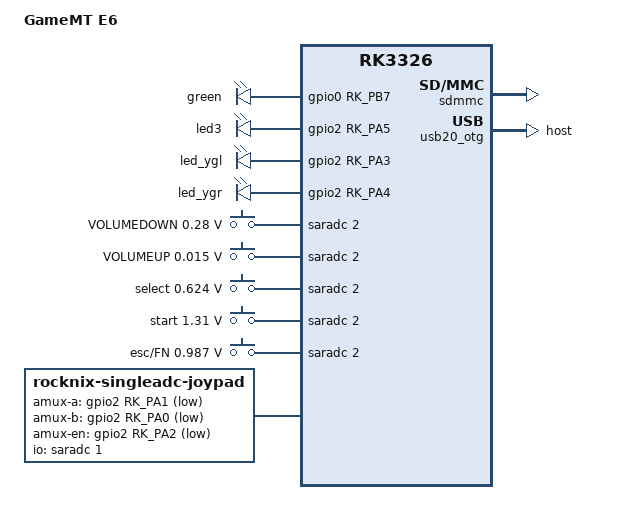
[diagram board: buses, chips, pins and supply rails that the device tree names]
// SPDX-License-Identifier: (GPL-2.0+ OR MIT)
/*
 * Copyright (c) 2017 Fuzhou Rockchip Electronics Co., Ltd
 */

/dts-v1/;
#include "rk3326.dtsi"
#include "px30-android.dtsi"
#include "rk3326-evb-lp3-v10.dtsi"
#include "rk3326-863-cif-sensor.dtsi"

/ {
	model = "GameMT E6";
	compatible = "gmmt,e6", "rockchip,rk3326";

	power-led {
		compatible = "gpio-leds";

		green {
			gpios = <&gpio0 RK_PB7 GPIO_ACTIVE_HIGH>;
			default-state = "on";
		};

		led3 {
			gpios = <&gpio2 RK_PA5 GPIO_ACTIVE_HIGH>;
			default-state = "on";
		};

		led_ygl {
			gpios = <&gpio2 RK_PA3 GPIO_ACTIVE_HIGH>;
			default-state = "on";
		};

		led_ygr {
			gpios = <&gpio2 RK_PA4 GPIO_ACTIVE_HIGH>;
			default-state = "on";
		};
	};
};

/ {
	wireless-wlan {
		status = "disabled";
	};

	wireless-bluetooth {
		status = "disabled";
	};

	fiq-debugger {
		status = "disabled";
	};

	rk817-sound {
		compatible = "simple-audio-card";
		simple-audio-card,format = "i2s";
		simple-audio-card,name = "rockchip,rk817-codec";
		simple-audio-card,mclk-fs = <256>;

		/delete-property/ rockchip,card-name;
		/delete-property/ hp-det-gpio;
		/delete-property/ io-channels;
		/delete-property/ io-channel-names;
		/delete-property/ keyup-threshold-microvolt;
		/delete-property/ poll-interval;
		/delete-property/ rockchip,format;
		/delete-property/ rockchip,mclk-fs;
		/delete-property/ rockchip,cpu;
		/delete-property/ rockchip,codec;
		/delete-property/ pinctrl-names;
		/delete-property/ pinctrl-0;
		/delete-node/ play-pause-key;

		simple-audio-card,cpu {
			sound-dai = <&i2s1_2ch>;
		};

		simple-audio-card,codec {
			sound-dai = <&rk817_codec>;
		};
	};

	charge-animation {
		compatible = "rockchip,uboot-charge";
		rockchip,uboot-charge-on = <0>;
		rockchip,android-charge-on = <1>;
		rockchip,uboot-low-power-voltage = <3500>;
		rockchip,screen-on-voltage = <3600>;
		status = "okay";
	};
	adc-keys {
		compatible = "adc-keys";
		io-channels = <&saradc 2>;
		io-channel-names = "buttons";
		keyup-threshold-microvolt = <1800000>;
		poll-interval = <60>;

		/delete-node/ esc-key;
		/delete-node/ home-key;
		/delete-node/ menu-key;

		vol-down-key {
			label = "VOLUMEDOWN";
			linux,code = <KEY_VOLUMEDOWN>;
			press-threshold-microvolt = <280000>;
		};

		vol-up-key {
			label = "VOLUMEUP";
			linux,code = <KEY_VOLUMEUP>;
			press-threshold-microvolt = <15000>;
		};

		select-key {
			label = "select";
			linux,code = <KEY_RIGHTSHIFT>;
			press-threshold-microvolt = <624000>;
		};

		start-key {
			label = "start";
			linux,code = <KEY_ENTER>;
			press-threshold-microvolt = <1310000>;
		};

		fn-key {
			label = "esc/FN";
			linux,code = <KEY_ESC>;
			press-threshold-microvolt = <987000>;
		};
	};

	joypad: rocknix-singleadc-joypad {
		compatible = "rocknix-singleadc-joypad";

		joypad-name = "retrogame_joypad";
		joypad-product = <0x1101>;
		joypad-revision = <0x0100>;
		joypad-vendor = <0x484B>;

		status = "okay";

		/* Analog mux define */
		io-channel-names = "amux_adc";
		io-channels = <&saradc 1>;

		/* adc mux channel count */
		amux-count = <4>;
		/* adc mux select(a,b) gpio */
		amux-a-gpios = <&gpio2 RK_PA1 GPIO_ACTIVE_LOW>;
		amux-b-gpios = <&gpio2 RK_PA0 GPIO_ACTIVE_LOW>;
		/* adc mux enable gpio */
		amux-en-gpios = <&gpio2 RK_PA2 GPIO_ACTIVE_LOW>;

		/* adc calculate scale */
		button-adc-scale = <2>;

		/* adc deadzone range */
		button-adc-deadzone = <64>;

		/*
		  specifies fuzz value that is used to filter noise from
		  the event stream.
		*/
		button-adc-fuzz = <32>;
		button-adc-flat = <32>;

		/*
		  Analog Stick data tuning value(precent)
		  p = positive direction, n = negative direction
		  report value = (real_adc_data * tuning_value) / 100
		*/
		abs_x-p-tuning = <200>;
		abs_x-n-tuning = <300>;

		abs_y-p-tuning = <200>;
		abs_y-n-tuning = <350>;

		abs_rx-p-tuning = <350>;
		abs_rx-n-tuning = <350>;

		abs_ry-p-tuning = <350>;
		abs_ry-n-tuning = <350>;

		/* poll device interval (ms), adc read interval */
		poll-interval = <10>;

		sw1 {
			gpios = <&gpio3 RK_PD1 GPIO_ACTIVE_LOW>;
			label = "GPIO DPAD-UP";
			linux,code = <BTN_DPAD_UP>;
		};
		sw2 {
			gpios = <&gpio3 RK_PD2 GPIO_ACTIVE_LOW>;
			label = "GPIO DPAD-DOWN";
			linux,code = <BTN_DPAD_DOWN>;
		};
		sw3 {
			gpios = <&gpio3 RK_PB5 GPIO_ACTIVE_LOW>;
			label = "GPIO DPAD-LEFT";
			linux,code = <BTN_DPAD_LEFT>;
		};
		sw4 {
			gpios = <&gpio3 RK_PD0 GPIO_ACTIVE_LOW>;
			label = "GPIO DPAD-RIGHT";
			linux,code = <BTN_DPAD_RIGHT>;
		};
		sw5 {
			gpios = <&gpio3 RK_PC4 GPIO_ACTIVE_LOW>;
			label = "GPIO BTN-A";
			linux,code = <BTN_EAST>;
		};
		sw6 {
			gpios = <&gpio3 RK_PC5 GPIO_ACTIVE_LOW>;
			label = "GPIO BTN-B";
			linux,code = <BTN_SOUTH>;
		};
		sw7 {
			gpios = <&gpio3 RK_PB3 GPIO_ACTIVE_LOW>;
			label = "GPIO BTN-Y";
			linux,code = <BTN_WEST>;
		};
		sw8 {
			gpios = <&gpio3 RK_PB2 GPIO_ACTIVE_LOW>;
			label = "GPIO BTN-X";
			linux,code = <BTN_NORTH>;
		};
		sw9 {
			gpios = <&gpio3 RK_PB4 GPIO_ACTIVE_LOW>;
			label = "GPIO F2";
			linux,code = <BTN_MODE>;
		};
		sw10 {
			gpios = <&gpio0 RK_PC2 GPIO_ACTIVE_LOW>;
			label = "GPIO F4";
			linux,code = <BTN_SELECT>;
		};
		sw11 {
			gpios = <&gpio3 RK_PA7 GPIO_ACTIVE_LOW>;
			label = "GPIO BTN_F3";
			linux,code = <BTN_START>;
		};
		sw12 {
			gpios = <&gpio2 RK_PB1 GPIO_ACTIVE_LOW>;
			label = "BTN_THUMBL";
			linux,code = <BTN_THUMBL>;
		};
		sw13 {
			gpios = <&gpio2 RK_PB2 GPIO_ACTIVE_LOW>;
			label = "BTN_THUMBR";
			linux,code = <BTN_THUMBR>;
		};
		sw14 {
			gpios = <&gpio3 RK_PC1 GPIO_ACTIVE_LOW>;
			label = "GPIO BTN_TR";
			linux,code = <BTN_TR>;
		};
		sw15 {
			gpios = <&gpio3 RK_PC0 GPIO_ACTIVE_LOW>;
			label = "GPIO BTN_TR2";
			linux,code = <BTN_TR2>;
		};
		sw16 {
			gpios = <&gpio3 RK_PC3 GPIO_ACTIVE_LOW>;
			label = "GPIO BTN_TL";
			linux,code = <BTN_TL>;
		};
		sw17 {
			gpios = <&gpio3 RK_PC2 GPIO_ACTIVE_LOW>;
			label = "GPIO BTN_TL2";
			linux,code = <BTN_TL2>;
		};
	};
};

&firmware_android {
	compatible = "android,firmware";
	fstab {
		compatible = "android,fstab";
		system {
			compatible = "android,system";
			dev = "/dev/block/by-name/system";
			type = "ext4";
			mnt_flags = "ro,barrier=1,inode_readahead_blks=8";
			fsmgr_flags = "wait";
		};
		vendor {
			compatible = "android,vendor";
			dev = "/dev/block/by-name/vendor";
			type = "ext4";
			mnt_flags = "ro,barrier=1,inode_readahead_blks=8";
			fsmgr_flags = "wait";
		};
	};
};

&rk_isp {
	status = "disabled";
};

&rng {
	status = "disabled";
};

&rk817 {
	interrupt-parent = <&gpio0>;
	interrupts = <RK_PB2 IRQ_TYPE_LEVEL_LOW>;
};

&rk817_codec {
	spk-ctl-gpios = <&gpio0 RK_PB3 GPIO_ACTIVE_HIGH>;
};

&i2c1 {
	status = "disabled";
};

&sdmmc {
	status = "okay";
};

&sdio {
	status = "disabled";
};

&vcc18_lcd_n {
	gpio = <&gpio0 RK_PB5 GPIO_ACTIVE_LOW>;
	enable-active-low;
	/delete-property/ enable-active-high;
};

&dmc_opp_table {
	opp-786000000 {
		status = "okay";
	};
};

&px30s_dmc_opp_table {
	opp-786000000 {
		status = "okay";
	};
};

&dsi {
	panel@0 {
		reset-gpios = <&gpio0 RK_PC1 GPIO_ACTIVE_LOW>;
		prepare-delay-ms = <120>;
		reset-delay-ms = <200>;
		init-delay-ms = <120>;
		enable-delay-ms = <20>;
		disable-delay-ms = <20>;
		unprepare-delay-ms = <120>;
		width-mm = <64>;
		height-mm = <48>;
		dsi,lanes = <2>;
		rotation = <90>;
		panel-init-sequence = <0x390004b9 0xf1080139 0x5b122 0x1e1e8715 0x2b222 0x390009b3 0x1000606 0x18133935 0x390012ba 0x31004425 0x910a0000 0xc1000000 0xd024fb9 0xee390006 0xe3050501 0x1001500 0x2b40239 0x3b505 0x5390003 0xb6a9a939 0x3b864 0x20150002 0xcc021500 0x2bc4739 0x34e900 0x50366 0xa801230 0x37070a 0x80370006 0x1000000 0x8202469 0x98804888 0x88883135 0x79988158 0x88888800 0x00 0x00 0x3900 0x23e00002 0x7141630 0x102d070c 0xd0e1211 0x13181c00 0x2073020 0x30102d07 0xc0d1212 0x11130c15 0x5c80111 0x5640129>;
		panel-exit-sequence = <0x5100128 0x5200110>;

		display-timings {
			timing0 {
				clock-frequency = <28000000>;
				hactive = <480>;
				vactive = <854>;
				hfront-porch = <14>;
				hsync-len = <2>;
				hback-porch = <24>;
				vfront-porch = <20>;
				vsync-len = <2>;
				vback-porch = <15>;
			};
		};
	};
};

&rk817 {
	battery {
		virtual_power = <0>;
		energy_mode = <0>;
		charge_stay_awake = <0>;
		fake_full_soc = <100>;
		nominal_voltage = <3700>;
	};

	charger {
		power_dc2otg = <0>;
		sample_res = <10>;
		otg5v_suspend_enable = <1>;
		gate_function_disable = <0>;
	};

	regulators {
		vcc1v8_dvp: LDO_REG8 {
			regulator-state-mem {
				/delete-property/ regulator-on-in-suspend;
				regulator-off-in-suspend;
			};
		};
	};
};

&dmc {
	system-status-freq = <
		/*system status         freq(KHz)*/
		SYS_STATUS_NORMAL       600000
		SYS_STATUS_REBOOT       600000
		SYS_STATUS_SUSPEND      600000
		SYS_STATUS_VIDEO_1080P  600000
		SYS_STATUS_BOOST        600000
		SYS_STATUS_ISP          600000
		SYS_STATUS_PERFORMANCE  600000
	>;
	auto-min-freq = <400000>;
	auto-freq-en = <0>;
};

&usb20_otg {
	dr_mode = "host";
	usb-role-switch;
	role-switch-default-mode = "host";
	/delete-property/ vbus-supply;
};

&gpu_opp_table {
	opp-200000000 {
		status = "disabled";
	};
	opp-300000000 {
		status = "disabled";
	};
	opp-400000000 {
		status = "disabled";
	};
	opp-480000000 {
		status = "disabled";
	};
};

